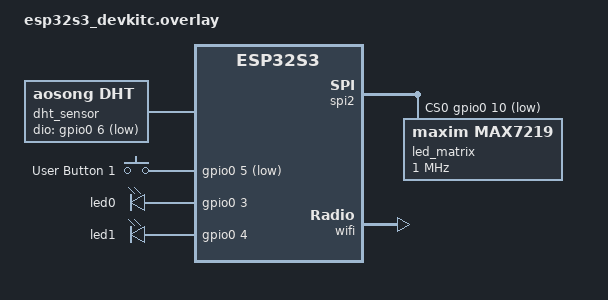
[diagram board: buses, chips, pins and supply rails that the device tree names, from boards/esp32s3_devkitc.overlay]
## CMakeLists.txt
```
cmake_minimum_required(VERSION 3.20.0)

find_package(Zephyr REQUIRED HINTS $ENV{ZEPHYR_BASE})

project(termo)

target_sources(app PRIVATE src/main.c src/wifi.c)
```

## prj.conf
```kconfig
# peryf config
CONFIG_SPI=y
CONFIG_GPIO=y
# components config
CONFIG_SENSOR=y
CONFIG_DHT=y
CONFIG_DISPLAY=y
CONFIG_MAX7219=y
# console config
CONFIG_PRINTK=y
CONFIG_SERIAL=y
CONFIG_CONSOLE=y
CONFIG_UART_CONSOLE=y

# networking config
CONFIG_NETWORKING=y
CONFIG_NET_IPV4=y
CONFIG_NET_IPV6=y
CONFIG_NET_TCP=y
CONFIG_NET_SOCKETS=y
CONFIG_HTTP_CLIENT=y

# increase stack memoy to avoid crashes
CONFIG_MAIN_STACK_SIZE=4096

# enable wifi
CONFIG_WIFI=y

# get ipv4 addres from dhcp
CONFIG_NET_DHCPV4=y

#enbale dns resolver
CONFIG_DNS_RESOLVER=y

# how long to wait for dhcp to provide an ip adress (in seconds)
CONFIG_NET_CONFIG_SETTINGS=y
CONFIG_NET_CONFIG_INIT_TIMEOUT=30

# network debug config
CONFIG_NET_LOG=y

# network managment
CONFIG_NET_MGMT=y
CONFIG_NET_MGMT_EVENT=y
CONFIG_NET_MGMT_EVENT_STACK_SIZE=1024
```

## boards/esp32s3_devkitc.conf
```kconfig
# required to get ip address from DHCP
CONFIG_ESP32_WIFI_STA_AUTO_DHCPV4=y

# use system heap insted of runtime for wifi
CONFIG_ESP_WIFI_HEAP_SYSTEM=y
CONFIG_HEAP_MEM_POOL_SIZE=51200
```

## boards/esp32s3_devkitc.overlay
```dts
&pinctrl {
    spim2_default: spim2_default {
        group1 {
            pinmux = <SPIM2_MISO_GPIO13>,
                     <SPIM2_SCLK_GPIO12>;
        };
        group2 {
            pinmux = <SPIM2_MOSI_GPIO11>;
            output-low;
        };
    };
};

&spi2 {
    cs-gpios = <&gpio0 10 GPIO_ACTIVE_LOW>;

    led_matrix: max7219@0 {
        compatible = "maxim,max7219";
        reg = <0>;
        spi-max-frequency = <1000000>;
        intensity = <1>;
        num-cascading = <4>;
        scan-limit = <7>;
    };
};

&wifi {
    status = "okay";    
};

/ {
    dht_sensor: dht11 {
        compatible = "aosong,dht";
        status = "okay";
        dio-gpios = <&gpio0 6 GPIO_ACTIVE_LOW>;
    };

    btn: buttons {
        compatible = "gpio-keys";
        button_1: button_1 {
            gpios = <&gpio0 5 (GPIO_ACTIVE_LOW | GPIO_PULL_UP)>;
            label = "User Button 1";
            zephyr,code = <0>;
        };
    };

    leds {
        compatible = "gpio-leds";
        
        led0: led0 {
            gpios = <&gpio0 3 GPIO_ACTIVE_HIGH>;
        };

        led1: led1 {
            gpios = <&gpio0 4 GPIO_ACTIVE_HIGH>;
        };
    };

    aliases {
        led-matrix = &led_matrix;
        dht-sensor = &dht_sensor;
        btn = &button_1;
        led-heat = &led0;
        led-cold = &led1;
    };
};
```

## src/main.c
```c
#include <zephyr/kernel.h>
#include <zephyr/device.h>
#include <zephyr/drivers/spi.h>
#include <zephyr/drivers/sensor.h>
#include <zephyr/drivers/gpio.h>
#include <zephyr/drivers/display.h>
#include <string.h>
#include "wifi.h"
#include <zephyr/net/socket.h>
#include <stdio.h>

#define WIFI_SSID "ssid_sieci_do_poprawy"
#define WIFI_PSK "haslo_do_sieci"
#define SERVER_HOST "192.168.1.100"   //DO POPRAWY ALBO NP moj pc local
#define SERVER_PORT "8080"
#define SERVER_PATH "/data"

#define DEBOUNCE_MS 200
#define DHT_THREAD_STACK_SIZE 4096
#define MATRIX_THREAD_STACK_SIZE 4096
#define CLOUD_THREAD_STACK_SIZE 4096
#define DECISION_THREAD_STACK_SIZE 1024

static const struct device *dht_dev = DEVICE_DT_GET(DT_ALIAS(dht_sensor));
static const struct device *matrix_dev = DEVICE_DT_GET(DT_ALIAS(led_matrix));
static const struct gpio_dt_spec button	= GPIO_DT_SPEC_GET(DT_ALIAS(btn),gpios);

static const struct gpio_dt_spec led0 = GPIO_DT_SPEC_GET(DT_ALIAS(led_heat), gpios);
static const struct gpio_dt_spec led1 = GPIO_DT_SPEC_GET(DT_ALIAS(led_cold), gpios);

static atomic_t sys_enable = ATOMIC_INIT(0);
static int64_t last_press_time = 0;

static uint8_t matrix_buffer[32];	     // 4 segments x 8raws = 32 digits
struct gpio_callback btn_data;

// define stack areas  for the threads
K_THREAD_STACK_DEFINE(dht_stack, DHT_THREAD_STACK_SIZE);
K_THREAD_STACK_DEFINE(matrix_stack, MATRIX_THREAD_STACK_SIZE);
K_THREAD_STACK_DEFINE(cloud_stack, CLOUD_THREAD_STACK_SIZE);
K_THREAD_STACK_DEFINE(decision_stack, DECISION_THREAD_STACK_SIZE);

// define shared struct of sensor data
struct dht_data{
	volatile int16_t temp;
	volatile int16_t humid;
};

// enum for making decision by led
enum temp_decision{
    DECISION_NONE = 0,
    DECISION_HEAT,
    DECISION_COLD,
};

// define message queue
K_MSGQ_DEFINE(dht_msgq,
	    sizeof(struct dht_data),
	    10,
	    4);			// change from 4 to 8 - test

K_MSGQ_DEFINE(dht_cloud_msgq,
              sizeof(struct dht_data),
              10,
              4);

K_MSGQ_DEFINE(decision_msgq,
              sizeof(enum temp_decision),
              10,
              4);

// declare thread data structs
static struct k_thread dht_thread;
static struct k_thread matrix_thread;
static struct k_thread cloud_thread;
static struct k_thread decision_thread;

// numbers in matrix
static const uint8_t font3x5[10][5] = {		// 10 numbers and 5 raws
	[0] = {0b111, 0b101, 0b101, 0b101, 0b111},
	[1] = {0b010, 0b010, 0b010, 0b010, 0b010},
	[2] = {0b111, 0b001, 0b111, 0b100, 0b111},
	[3] = {0b111, 0b001, 0b111, 0b001, 0b111},
	[4] = {0b101, 0b101, 0b111, 0b001, 0b001},
	[5] = {0b111, 0b100, 0b111, 0b001, 0b111},
	[6] = {0b111, 0b100, 0b111, 0b101, 0b111},
	[7] = {0b111, 0b001, 0b001, 0b001, 0b001},
	[8] = {0b111, 0b101, 0b111, 0b101, 0b111},
	[9] = {0b111, 0b101, 0b111, 0b001, 0b111}
};

static const uint8_t font_degree = 0b11;
static const uint8_t font_celsius[5] = {0b111, 0b100, 0b100, 0b100, 0b111};
#define font_dot 0b00000001
static const uint8_t font_percent[5] = {0b100, 0b001, 0b010, 0b100, 0b001};


// callback function for interrupt
void btn_pressed(const struct device *dev, struct gpio_callback *cb, uint32_t pins){

	int64_t now = k_uptime_get();

	if (now - last_press_time < DEBOUNCE_MS){
		return;
	}
	last_press_time = now;

	atomic_xor(&sys_enable, 1);
	if (atomic_get(&sys_enable)) {
		display_blanking_off(matrix_dev);
		printk("It is on babe\n");
	} else {
        	k_msgq_purge(&dht_msgq);

        	memset(matrix_buffer, 0, sizeof(matrix_buffer));

		const struct display_buffer_descriptor desc = {
			.buf_size = 32,
            		.width    = 8,
            		.height   = 32,
            		.pitch    = 8,
        	};
	display_write(matrix_dev, 0, 0, &desc, matrix_buffer);
	printk("Nah not again :(\n");
	}
}

// first thread
void dht_thread_start(void *arg_1, void *arg_2, void *arg_3){

	int ret;
	struct sensor_value temp_val, humid_val;
	struct dht_data data_to_send;

	while(1){
		if (!atomic_get(&sys_enable)){
			k_msleep(100);
			continue;
		}

		ret = sensor_sample_fetch(dht_dev);
		if (ret < 0) {
			printk("ERROR: sensor sample fetch failed");
			continue;
		} else {
			sensor_channel_get(dht_dev, SENSOR_CHAN_AMBIENT_TEMP, &temp_val);
			sensor_channel_get(dht_dev, SENSOR_CHAN_HUMIDITY, &humid_val);

			data_to_send.temp  = (int16_t)(sensor_value_to_double(&temp_val)  * 10);
			data_to_send.humid = (int16_t)(sensor_value_to_double(&humid_val) * 10);

			if (k_msgq_put(&dht_msgq, &data_to_send, K_NO_WAIT) !=0) {
				printk("ERROR: sensor msgq full");
				continue;
			}

            if(k_msgq_put(&dht_cloud_msgq, &data_to_send, K_NO_WAIT) !=0){
                printk("ERROR: cloude msgq full");
                continue;
            }
		}
		k_msleep(200);		//debouncing
	}
}

// second thread
void matrix_thread_start(void *arg_1, void *arg_2, void *arg_3){
	struct dht_data data_recived;

	while(1){
// 		printk("matrix: waiting for data\n"); // just for debug
		if (k_msgq_get(&dht_msgq, &data_recived, K_FOREVER) == 0){
			if (!atomic_get(&sys_enable)) {
				k_msleep(100);
				continue;
			}
			printk("DHT11: Temp: %d.%d C | Hum: %d.%d %%\n",
				data_recived.temp  / 10, data_recived.temp  % 10,
				data_recived.humid / 10, data_recived.humid % 10);

               		memset(matrix_buffer, 0 , sizeof(matrix_buffer)); // buffer cleaning

			// tbh tem dec and humid dec is useless if you use dht11 and ofc i use it :)
			int temp_int = data_recived.temp / 10;
			int temp_tens = temp_int / 10;
			int temp_units = temp_int % 10;
			int temp_dec = data_recived.temp % 10;

			int humid_int = data_recived.humid / 10;
			int humid_tens = humid_int / 10;
			int humid_units = humid_int % 10;
			int humid_dec = data_recived.humid % 10;

			for (int i = 0; i < 5; i++){
				matrix_buffer[24 + i] = (font3x5[temp_tens][i] << 5) | (font3x5[temp_units][i] << 1);
			}

			matrix_buffer[28] |= font_dot;

			for (int i = 0; i < 5; i++) {
				matrix_buffer[16 + i] = (font3x5[temp_dec][i] << 5) | ((i< 2) ? (font_degree << 3) : 0) | (font_celsius[i]);
			}

			for (int i = 0; i < 5; i++) {
				matrix_buffer[8 + i] = (font3x5[humid_tens][i] << 5) | (font3x5[humid_units][i] << 1);
			}

			matrix_buffer[12] |= font_dot;

			for (int i = 0; i < 5 ; i++) {
				matrix_buffer[i] = (font3x5[humid_dec][i] << 5)  | (font_percent[i]);
			}

		       const struct display_buffer_descriptor desc = {
			       .buf_size = 32,
        			.width    = 8,
        			.height   = 32,
      				.pitch    = 8,
        		};

			display_write(matrix_dev, 0, 0, &desc, matrix_buffer);
		}
	}
}

// 3 THREAD to send data to server
void cloud_thread_start(void *arg_1, void *arg_2, void *arg_3){
	struct dht_data data_recived;
    char payload[128];
    char request[512];
    char response[256];
    enum temp_decision dec;

    struct zsock_addrinfo hints;        //hints for DNS lookup
    struct zsock_addrinfo *res;         //adres serwera - res

    int sock;
    int len;
    int ret;

	while(1) {
		if (k_msgq_get(&dht_cloud_msgq, &data_recived, K_FOREVER) != 0) {
            continue;
        }
        if (!atomic_get(&sys_enable)) {
				k_msleep(100);
				continue;
		}

        // building JSON
        snprintf(payload, sizeof(payload),
                 "{\"temp\": %d.%d, \"humid\": %d.%d}",
                 data_recived.temp / 10, data_recived.temp % 10,
                 data_recived.humid / 10, data_recived.humid % 10);

        // give name of server, by using hints and it automaticly search for ipv4 and tcp socket for DNS lookup and write it into struct hints
        memset(&hints, 0, sizeof(hints));
        hints.ai_family = AF_INET;
        hints.ai_socktype = SOCK_STREAM;
        hints.ai_protocol = IPPROTO_TCP;        // should be 0 sooo this is probably useless

        // DNS lookup
        ret = zsock_getaddrinfo(SERVER_HOST, SERVER_PORT, &hints, &res);
        if (ret != 0){
            printk("Error: DNS lookup failed (%d) \r\n", ret);
            k_msleep(5000);
            continue;
        }

        // create socket TCP, that is  already fullfilled by DNS lookup so no need to hardcoding it 
        sock = zsock_socket(res->ai_family, res->ai_socktype, res->ai_protocol);
        if (sock < 0){
            printk("Error: creating socket failed \r\n");
            zsock_freeaddrinfo(res);
            k_msleep(5000);
            continue;
        }

        // conect socket to server by using adress from dns lookup
        ret = zsock_connect(sock, res->ai_addr, res->ai_addrlen);
        if (ret < 0) {
            printk("Error: connect failed \r\n");
            zsock_close(sock);
            zsock_freeaddrinfo(res);
            k_msleep(5000);
            continue;
        }

        zsock_freeaddrinfo(res);        //dns no longer needed

        // create json for http post request
        snprintf(request, sizeof(request),
                 "POST %s HTTP/1.0\r\n"
                 "Host: %s\r\n"
                 "Content-Type: application/json\r\n"
                 "Content-Length: %d\r\n"
                 "\r\n"
                 "%s",
                 SERVER_PATH, SERVER_HOST,
                 (int)strlen(payload), payload);

        //send rquest to server
        ret = zsock_send(sock, request, strlen(request), 0);
        if (ret < 0) {
            printk("Error: send failed \r\n");
            zsock_close(sock);
            k_msleep(5000);
            continue;
        }

        char full_response[512];
        int total_len = 0;
        dec = DECISION_NONE;
        memset(full_response, 0, sizeof(full_response));

        while(1) {
            len = zsock_recv(sock, response, sizeof(response) - 1, 0);

            if (len < 0) {
                printk("Error: recive failed \r\n");
                break;
            }
            if (len == 0) {
                printk("Got response, end of connection");
                break;
            }
            if (total_len + len < sizeof(full_response) - 1) {
                memcpy(full_response + total_len, response, len);       // memcpy(direction, source, length in bytes)
                total_len += len;
            }
        }

        zsock_close(sock);

        if (strstr(full_response, "\"heat\"")) {
            dec = DECISION_HEAT;
        } else if (strstr(full_response, "\"cold\"")) {
            dec = DECISION_COLD;
        } else {
            dec = DECISION_NONE;
        }

        if (k_msgq_put(&decision_msgq, &dec, K_NO_WAIT) != 0){
            printk("Error: decision msgq is full \r\n");
        }

        k_msleep(5000);
	}
}

void decision_thread_start(void *arg_1, void *arg_2, void *arg_3) {
    enum temp_decision dec;

    while(1){
        if(k_msgq_get(&decision_msgq, &dec, K_FOREVER) !=0){
            continue;
        }

        if(!atomic_get(&sys_enable)){
            k_msleep(100);
            continue;
        }

        if(dec == DECISION_COLD){
            gpio_pin_set_dt(&led0, 1);
            gpio_pin_set_dt(&led1, 0);
            printk("Turn on cooling system");
        }
        if (dec == DECISION_HEAT){
            gpio_pin_set_dt(&led1, 1);
            gpio_pin_set_dt(&led0, 0);
            printk("Turn on heating system");
        }
        if (dec == DECISION_NONE){
            gpio_pin_set_dt(&led1, 0);
            gpio_pin_set_dt(&led0, 0);
            printk("Room temparature is okay");
        }

    }

}
int main(void){
	int ret;

	//ready ifs
       	if(!device_is_ready(dht_dev)){
               	printk("ERROR: dht sensor is not ready");
               	return 0;
       	};

       	if(!device_is_ready(matrix_dev)){
               	printk("ERROR: matrix is not ready");
               	return 0;
       	};

       	if(!gpio_is_ready_dt(&button)){
               	printk("ERROR: btn is not ready");
               	return 0;
       	};

	ret = gpio_pin_configure_dt(&button, GPIO_INPUT);
	if (ret < 0) {
		return 0;
	}

	ret = gpio_pin_interrupt_configure_dt(&button, GPIO_INT_EDGE_TO_ACTIVE);
    if (ret < 0) {
        return 0;
    }

	if (!gpio_is_ready_dt(&led0)) {
		return 0;
	}

	ret = gpio_pin_configure_dt(&led0, GPIO_OUTPUT_ACTIVE);
	if (ret < 0) {
		return 0;
	}

	if (!gpio_is_ready_dt(&led1)) {
		return 0;
	}

	ret = gpio_pin_configure_dt(&led1, GPIO_OUTPUT_ACTIVE);
	if (ret < 0) {
		return 0;
	}

	// interrupt
	gpio_init_callback(&btn_data, btn_pressed, BIT(button.pin));
	gpio_add_callback(button.port, &btn_data);

    // wifi
    wifi_init();

    ret = wifi_connect(WIFI_SSID, WIFI_PSK);
    if (ret < 0){
        printk("ERROR: wifi_connect failed (%d)\r\n", ret);
        return 0;
    }

    wifi_wait_for_ip_addr();

	// start threads
    k_thread_create(&dht_thread,		//thread struct
  		      dht_stack,		       //stack
		      K_THREAD_STACK_SIZEOF(dht_stack),
		      dht_thread_start,	   //entry point
		      NULL, NULL, NULL,	   //args
	   	  5, 			           //priority
		      0, 			           // option
		      K_NO_WAIT);		       // start delay

    k_thread_create(&matrix_thread,
 		      matrix_stack,
		      K_THREAD_STACK_SIZEOF(matrix_stack),
	     	  matrix_thread_start,
		      NULL, NULL, NULL,
	  	      5,
		      0,
		      K_NO_WAIT);

    k_thread_create(&cloud_thread,
                    cloud_stack,
                    K_THREAD_STACK_SIZEOF(cloud_stack),
                    cloud_thread_start,
                    NULL, NULL, NULL,
                    5,
                    0,
                    K_NO_WAIT);

    k_thread_create(&decision_thread,
                    decision_stack,
                    K_THREAD_STACK_SIZEOF(decision_stack),
                    decision_thread_start,
                    NULL, NULL, NULL,
                    5,
                    0,
                    K_NO_WAIT);

	while(1){
		k_msleep(1000);
	}
	return 0;
}
```

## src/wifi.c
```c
#include <string.h>
#include <zephyr/kernel.h>
#include <zephyr/net/wifi_mgmt.h>

// event callbacks
static struct net_mgmt_event_callback wifi_cb;
static struct net_mgmt_event_callback ipv4_cb;

// semaphores
static K_SEM_DEFINE(sem_wifi, 0, 1);
static K_SEM_DEFINE(sem_ipv4, 0, 1);

// called when wifi is connected  by signature defined in zephyr
/**
 * @typedef net_mgmt_event_handler_t
 * @brief Define the user's callback handler function signature
 * @param cb Original struct net_mgmt_event_callback owning this handler.
 * @param mgmt_event The network event being notified.
 * @param iface A pointer on a struct net_if to which the event belongs to,
 *        if it's an event on an ixface. NULL otherwise.
 */
static void on_wifi_connection_event (struct net_mgmt_event_callback *cb,
					                  uint64_t mgmt_event,
					                  struct net_if *iface) {
    const struct wifi_status *status = (const struct wifi_status *)cb -> info; // pull the info from callback

    if(mgmt_event == NET_EVENT_WIFI_CONNECT_RESULT) {
        if (status->status) {
            printk("Error (%d): Connection request failed \r\n", status -> status);
        } else {
            printk("Connected \r\n");
            k_sem_give(&sem_wifi);
        }
    } else if (mgmt_event == NET_EVENT_WIFI_DISCONNECT_RESULT) {
        if (status->status) {
            printk("Error (%d): Disconnection request faild \r\n", status ->status);
        } else {
            printk("Disconnected \r\n");
            k_sem_take(&sem_wifi, K_NO_WAIT);
        }
    }
}

static void on_ipv4_obtained (struct net_mgmt_event_callback *cb,
                              uint64_t mgmt_event,
                              struct net_if *iface) {
    // signal that the ip address has been obtained
    if (mgmt_event == NET_EVENT_IPV4_ADDR_ADD) {
        k_sem_give(&sem_ipv4);
    }
}

// initialize the wifi event callbacks

void wifi_init(void){
    //initalize the event cb, in func without () there is no need to put & in front
    net_mgmt_init_event_callback(&wifi_cb, on_wifi_connection_event, NET_EVENT_WIFI_CONNECT_RESULT | NET_EVENT_WIFI_DISCONNECT_RESULT);

    net_mgmt_init_event_callback(&ipv4_cb, on_ipv4_obtained, NET_EVENT_IPV4_ADDR_ADD);

    // add event cb
    net_mgmt_add_event_callback(&wifi_cb);
    net_mgmt_add_event_callback(&ipv4_cb);
}

// connect to wifi network (blocking)

int wifi_connect(char *ssid, char *psk) {

    int ret;
    struct net_if *iface;
    struct wifi_connect_req_params params;

    // get the default networking interface
    iface = net_if_get_default();               // in esp32 this should be enough - wifi interface

    // fill in the connection rquest param and cast them by pointers into uint cause of web connecting standards
    params.ssid = (const uint8_t *)ssid;        //name of wifi
    params.ssid_length = strlen(ssid);
    params.psk = (const uint8_t *)psk;          // password of wifi
    params.psk_length = strlen(psk);
    params.security = WIFI_SECURITY_TYPE_PSK;   // type of  encription used by router
    params.band = WIFI_FREQ_BAND_UNKNOWN;       // band freq 2.4 or 5.0
    params.channel = WIFI_CHANNEL_ANY;          // search for right channel
    params.mfp = WIFI_MFP_OPTIONAL;             // managment frame protection - optional y/n

    // connect to  the wifi network
    ret = net_mgmt(NET_REQUEST_WIFI_CONNECT,
                   iface,
                   &params,
                   sizeof(params));
    // wait for the connection to complete
    k_sem_take(&sem_wifi, K_FOREVER);

    return ret;
}

// wait for ip address (blocking)
void wifi_wait_for_ip_addr(void) {
    struct wifi_iface_status status;
    struct net_if *iface;
    char ip_addr[NET_IPV4_ADDR_LEN];
    char gw_addr[NET_IPV4_ADDR_LEN];

    //get iface
    iface = net_if_get_default();

    //wait for  the ipv4 address to be obtained
    k_sem_take(&sem_ipv4, K_FOREVER);

    // get wifi status
    if (net_mgmt(NET_REQUEST_WIFI_IFACE_STATUS,
                 iface,
                 &status,
                 sizeof(struct wifi_iface_status))) {
        printk("Error: wifi status request failed \r\n");
    }

    //get the ip address
    memset(ip_addr, 0, sizeof(ip_addr));    //clearing ip addr to avoid garbage char 
    if (net_addr_ntop(AF_INET,             //network address network to printable binary to readable
                      &iface->config.ip.ipv4->unicast[0].ipv4.address.in_addr,  //unicast - first ipv4 address
                      ip_addr,
                      sizeof(ip_addr)) == NULL){
        printk("Error: could not convert ip address to string \r\n");
    }
    //get the gw address to enable routing outide local network
    memset(gw_addr, 0, sizeof(gw_addr));
    if (net_addr_ntop(AF_INET,
                      &iface->config.ip.ipv4->gw,
                      gw_addr,
                      sizeof(gw_addr)) == NULL) {
        printk("Error: could not convert gateway address to string \r\n");
    }

    // print wifi status
    printk("Wifi status: \r\n");
    if (status.state >= WIFI_STATE_ASSOCIATED) {
        printk("SSID: %-32s\r\n", status.ssid);
        printk("Band: %d\r\n", status.band);
        printk("Channel: %d\r\n", status.channel);
        printk("Security: %d\r\n", status.security);
        printk("Ip address: %s\r\n", ip_addr);
        printk("Gateway: %s\r\n", gw_addr);
    }
}

//disconnect from wifi

int wifi_disconnect(void) {
    int ret;
    struct net_if *iface = net_if_get_default();

    ret = net_mgmt(NET_REQUEST_WIFI_DISCONNECT, iface, NULL, 0);

    return ret;
}
```

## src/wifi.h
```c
#ifndef WIFI_H_
#define WIFI_H_

// functions prototypes
void wifi_init(void);
int wifi_connect(char *ssid, char *psk);
void wifi_wait_for_ip_addr(void);
int wifi_disconnect(void);

#endif // WIFI_H_
```
